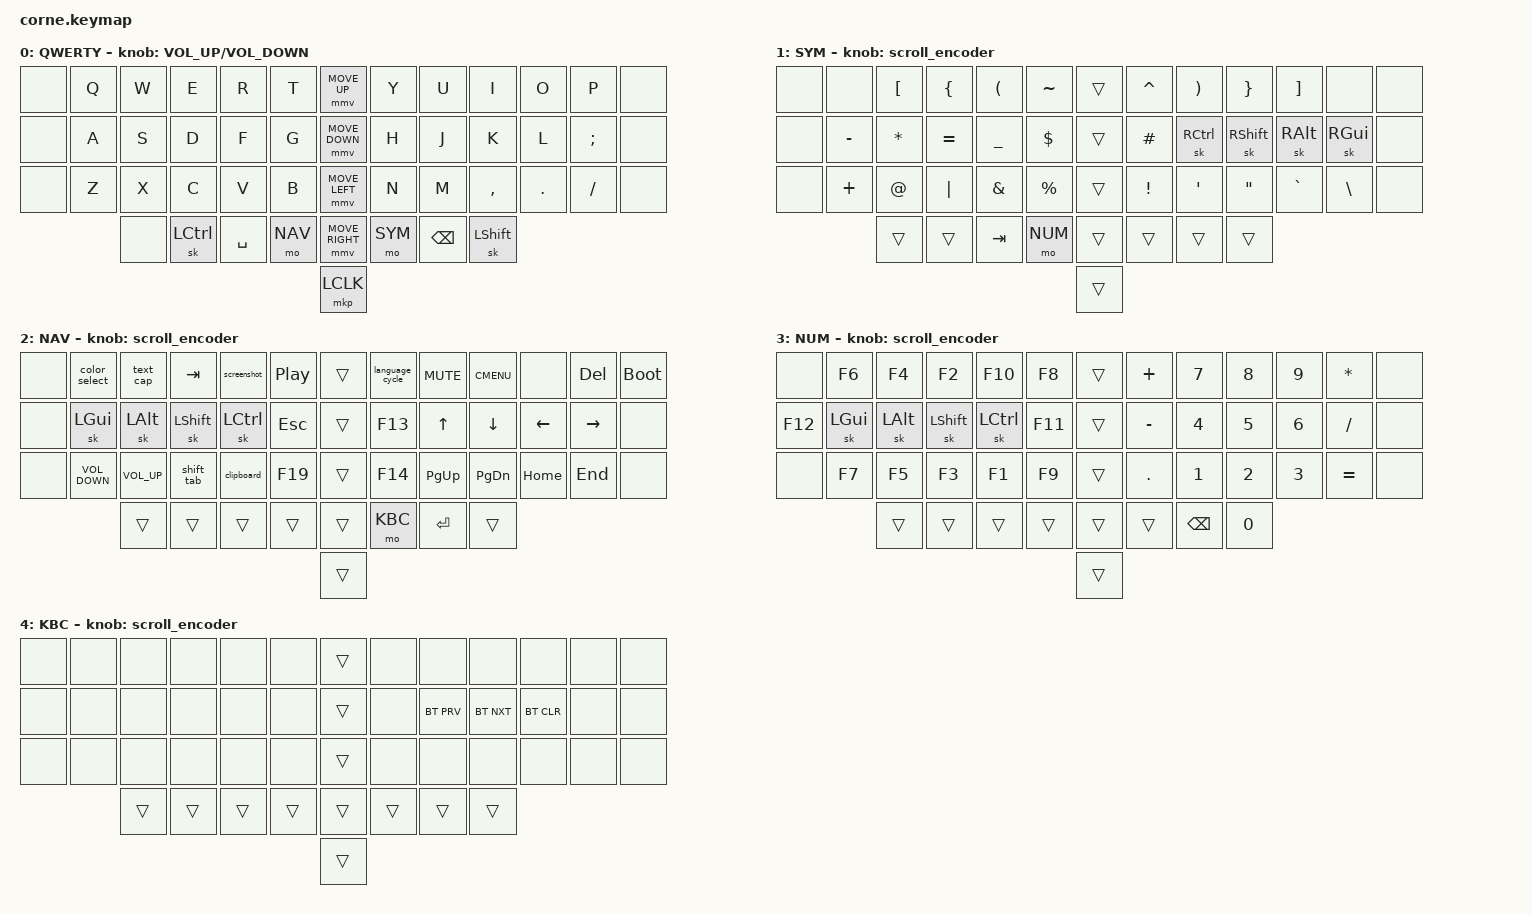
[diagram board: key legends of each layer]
#include <behaviors/mouse_keys.dtsi>
#include <behaviors.dtsi>
#include <dt-bindings/zmk/bt.h>
#include <dt-bindings/zmk/keys.h>
#include <dt-bindings/zmk/mouse.h>
#include <dt-bindings/zmk/outputs.h>
#include <dt-bindings/zmk/rgb.h>

#undef ZMK_MOUSE_DEFAULT_MOVE_VAL
#undef ZMK_MOUSE_DEFAULT_SCRL_VAL
#define ZMK_MOUSE_DEFAULT_MOVE_VAL 1200  // 600
#define ZMK_MOUSE_DEFAULT_SCRL_VAL 20    // 10
#define U_MS_U &mmv MOVE_UP
#define U_MS_D &mmv MOVE_DOWN
#define U_MS_L &mmv MOVE_LEFT
#define U_MS_R &mmv MOVE_RIGHT

// Layer definitions
#define QWE 0
#define SYM 1
#define NAV 2
#define NUM 3
#define KBC 4

&sk {
    quick-release;
};


/ {
    behaviors {
        td0: td0 {
            compatible = "zmk,behavior-tap-dance";
            label = "TD0";
            #binding-cells = <0>;
            bindings = <&kp LEFT_SHIFT>, <&kp CAPS>;
        };

        mmv {
            acceleration-exponent = <1>;      // 1
            time-to-max-speed-ms = <900>;    // 40
            delay-ms = <0>;                   // 0
        };

        msc {
            acceleration-exponent = <1>;      // 0
            time-to-max-speed-ms = <400>;      // 500
            delay-ms = <0>;                   // 10
        };
    };

    macros {
            screenshot: screenshot {
                compatible = "zmk,behavior-macro";
                #binding-cells = <0>;
                bindings
                    = <&macro_press &kp LGUI &kp LSHFT>
                    , <&macro_tap &kp S>
                    , <&macro_release &kp LGUI &kp LSHFT>
                    ;
            };

            text_cap: text_cap {
                compatible = "zmk,behavior-macro";
                #binding-cells = <0>;
                bindings
                    = <&macro_press &kp LGUI &kp LSHFT>
                    , <&macro_tap &kp T>
                    , <&macro_release &kp LGUI &kp LSHFT>
                    ;
            };

            color_select: color_select {
                compatible = "zmk,behavior-macro";
                #binding-cells = <0>;
                bindings
                    = <&macro_press &kp LGUI &kp LSHFT>
                    , <&macro_tap &kp C>
                    , <&macro_release &kp LGUI &kp LSHFT>
                    ;
            };

            language_cycle: language_cycle {
                compatible = "zmk,behavior-macro";
                #binding-cells = <0>;
                bindings
                    = <&macro_press &kp LGUI>
                    , <&macro_tap &kp SPACE>
                    , <&macro_release &kp LGUI>
                    ;
            };

            shift_tab: shift_tab {
                compatible = "zmk,behavior-macro";
                #binding-cells = <0>;
                bindings
                    = <&macro_press &kp LSHFT>
                    , <&macro_tap &kp TAB>
                    , <&macro_release &kp LSHFT>
                    ;
            };

            clipboard: clipboard {
                compatible = "zmk,behavior-macro";
                #binding-cells = <0>;
                bindings
                    = <&macro_press &kp LGUI>
                    , <&macro_tap &kp V>
                    , <&macro_release &kp LGUI>
                    ;
            };

    };

    rgb_encoder: rgb_encoder {
        compatible = "zmk,behavior-sensor-rotate";
        label = "RGB_ENCODER";
        #sensor-binding-cells = <0>;
        bindings = <&rgb_ug RGB_BRI>, <&rgb_ug RGB_BRD>;
    };

    scroll_encoder: scroll_encoder {
        compatible = "zmk,behavior-sensor-rotate";
        #sensor-binding-cells = <0>;
        bindings = <&msc SCRL_DOWN>, <&msc SCRL_UP>;

        tap-ms = <30>;
    };

    keymap {
        compatible = "zmk,keymap";

        // Default layer: QWE 0
        default_layer {
            display-name = "QWERTY";

            // --------------------------------------------------------------------------------
            // | NONE |  Q  |  W  |  E  |  R  |  T  |             |  ↑    |  Y  |  U   |   I   |  O  |  P  | NONE |
            // | NONE |  A  |  S  |  D  |  F  |  G  |             |  ↓    |  H  |  J   |   K   |  L  |  ;  | NONE |
            // | NONE |  Z  |  X  |  C  |  V  |  B  |             |  ←    |  N  |  M   |   ,   |  .  |  /  | NONE |
            //              |NONE | CTR | SPA | NAV |             |  →    | SYM | BKSP | SHIFT |
            //                                                    | enter
            // --------------------------------------------------------------------------------

            bindings = <
&none   &kp Q  &kp W      &kp E         &kp R      &kp T     &mmv MOVE_UP     &kp Y      &kp U     &kp I      &kp O    &kp P     &none
&none   &kp A  &kp S      &kp D         &kp F      &kp G     &mmv MOVE_DOWN   &kp H      &kp J     &kp K      &kp L    &kp SEMI  &none
&none   &kp Z  &kp X      &kp C         &kp V      &kp B     &mmv MOVE_LEFT   &kp N      &kp M     &kp COMMA  &kp DOT  &kp FSLH  &none
               &none      &sk LCTRL     &kp SPACE  &mo NAV   &mmv MOVE_RIGHT  &mo SYM    &kp BSPC  &sk LSHFT
                                                             &mkp LCLK
            >;

            label = "QWERTY";
            sensor-bindings = <&inc_dec_kp C_VOLUME_UP C_VOLUME_DOWN>;
        };

        // Symbol layer: SYM 1
        symbol_layer {
            display-name = "SYM";

            // -----------------------------------------------------------------------------------------
            // | NONE | NONE |  [  |  {  |  (  |  ~  |         |TRANS|  ^  |  )  |  }  |  ]  | NONE | NONE |
            // | NONE |  -   |  *  |  =  |  _  |  $  |         |TRANS|  #  | CTR | SHF | ALT | GUI  | NONE |
            // | NONE |  +   |  @  |  |  |  &  |  %  |         |TRANS|  !  |  '  |  "  |  `  |  \   | NONE |
            //               |TRANS|TRANS| TAB | NUM |         |TRANS|TRANS|TRANS|TRANS|
            //                                                 |TRANS|
            // --------------------------------------------------------------------------------

            bindings = <
&none   &none     &kp LBKT   &kp LBRC   &kp LPAR   &kp TILDE          &trans     &kp CARET  &kp RPAR   &kp RBRC   &kp RBKT  &none     &none
&none   &kp MINUS &kp ASTRK  &kp EQUAL  &kp UNDER  &kp DLLR           &trans     &kp HASH   &sk RCTRL  &sk RSHFT  &sk RALT  &sk RGUI  &none
&none   &kp PLUS  &kp AT     &kp PIPE   &kp AMPS   &kp PRCNT          &trans     &kp EXCL   &kp SQT    &kp DQT    &kp GRAVE &kp BSLH  &none
                  &trans     &trans     &kp TAB    &mo NUM            &trans     &trans     &trans     &trans
                                                                      &trans
            >;

            label = "SYMBOL";
            sensor-bindings = <&scroll_encoder>;
        };

        // Navigation layer: NAV 2
        nav_layer {
            display-name = "NAV";

            // -----------------------------------------------------------------------------------------
            // | NONE | COLOR | CAP  | TAB  | SCRN | PLAY |         |TRANS| LANG | MUTE | NONE | NONE | DEL  | BOOT |
            // | NONE | GUI   | ALT  | SHFT | CTRL | ESC  |         |TRANS| F13  | UP   | DOWN | LEFT | RIGHT| NONE |
            // | NONE | VOL-  | VOL+ | STAB | CLIP | F19  |         |TRANS| F14  | PGUP | PGDN | HOME | END  | NONE |
            //                |TRANS |TRANS |TRANS |TRANS |         |TRANS| KBC  | ENTER|TRANS |
            //                                                      |TRANS|
            // --------------------------------------------------------------------------------

            bindings = <
&none  &color_select        &text_cap       &kp TAB     &screenshot    &kp C_PP        &trans     &language_cycle   &kp C_MUTE    &kp K_CMENU     &none      &kp DELETE   &bootloader
&none  &sk LGUI             &sk LALT        &sk LSHFT   &sk LCTRL      &kp ESC         &trans     &kp F13           &kp UP        &kp DOWN        &kp LEFT   &kp RIGHT    &none
&none  &kp C_VOLUME_DOWN    &kp C_VOLUME_UP &shift_tab  &clipboard     &kp F19         &trans     &kp F14           &kp PAGE_UP   &kp PAGE_DOWN   &kp HOME   &kp END      &none
                            &trans          &trans      &trans         &trans          &trans     &mo KBC             &kp ENTER     &trans
                                                                                       &trans
            >;

            label = "NAVIGATION";
            sensor-bindings = <&scroll_encoder>;
        };

        // Number layer: NUM 3
        number_layer {
            display-name = "NUM";
            // -----------------------------------------------------------------------------------------
            // | NONE | F6   | F4   | F2   | F10  | F8   |         |TRANS| +    | 7    | 8    | 9    | *    | NONE |
            // | F12  | GUI  | ALT  | SHFT | CTRL | F11  |         |TRANS| -    | 4    | 5    | 6    | /    | NONE |
            // | NONE | F7   | F5   | F3   | F1   | F9   |         |TRANS| .    | 1    | 2    | 3    | =    | NONE |
            //               |TRANS |TRANS |TRANS |TRANS |         |TRANS|TRANS | BSPC | 0    |
            //                                                     |TRANS|
            // --------------------------------------------------------------------------------

            bindings = <
&none    &kp F6            &kp F4          &kp F2      &kp F10        &kp F8             &trans     &kp PLUS   &kp N7    &kp N8    &kp N9   &kp ASTRK   &none
&kp F12  &sk LGUI          &sk LALT        &sk LSHFT   &sk LCTRL      &kp F11            &trans     &kp MINUS  &kp N4    &kp N5    &kp N6   &kp SLASH   &none
&none    &kp F7            &kp F5          &kp F3      &kp F1         &kp F9             &trans     &kp DOT    &kp N1    &kp N2    &kp N3   &kp EQUAL   &none
                           &trans          &trans      &trans         &trans             &trans     &trans     &kp BSPC  &kp N0
                                                                                         &trans
            >;

            label = "NUMBER";
            sensor-bindings = <&scroll_encoder>;
        };

        // Keyboard control layer: KBC 4
        kbc_layer {
            display-name = "KBC";
            // -----------------------------------------------------------------------------------------
            // | NONE | F6   | F4   | F2   | F10  | F8   |         |TRANS| +    | 7    | 8    | 9    | *    | NONE |
            // | F12  | GUI  | ALT  | SHFT | CTRL | F11  |         |TRANS| -    | 4    | 5    | 6    | /    | NONE |
            // | NONE | F7   | F5   | F3   | F1   | F9   |         |TRANS| .    | 1    | 2    | 3    | =    | NONE |
            //               |TRANS |TRANS |TRANS |TRANS |         |TRANS|TRANS | BSPC | 0    |
            //                                                     |TRANS|
            // --------------------------------------------------------------------------------

            bindings = <
&none    &none    &none    &none    &none    &none        &trans    &none       &none       &none       &none       &none    &none
&none    &none    &none    &none    &none    &none        &trans    &none       &bt BT_PRV  &bt BT_NXT  &bt BT_CLR  &none    &none
&none    &none    &none    &none    &none    &none        &trans    &none       &none       &none       &none       &none    &none
                  &trans   &trans   &trans   &trans       &trans    &trans      &trans      &trans
                                                          &trans
            >;

            label = "KBC";
            sensor-bindings = <&scroll_encoder>;
        };

    };
};
